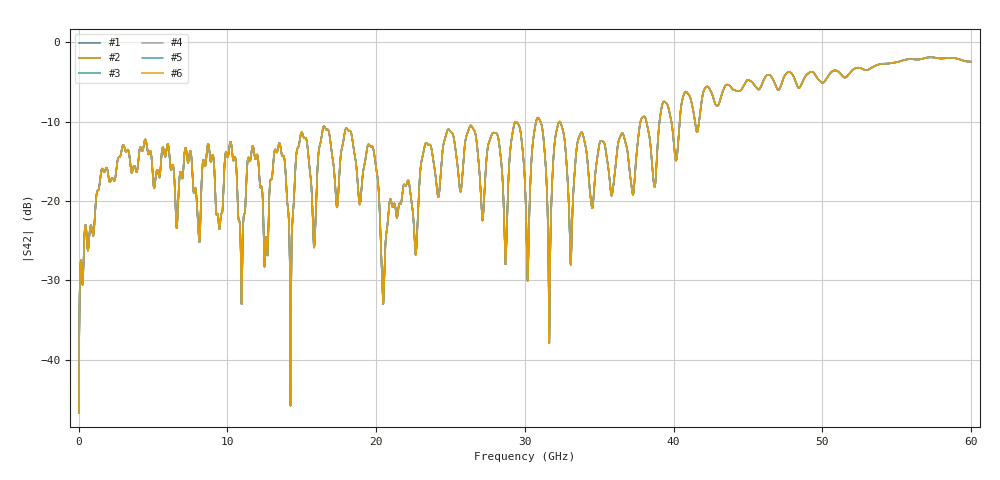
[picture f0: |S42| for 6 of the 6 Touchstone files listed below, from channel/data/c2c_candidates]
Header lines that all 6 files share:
!$Gore$
!C2C PCB Topology at Nominal
!Tuned Ballou BGA and Tuned Mayfield BOR
!Created with Channel Assembly Tool v1.0.4
# Hz S RI R 50
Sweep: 10 MHz to 60 GHz
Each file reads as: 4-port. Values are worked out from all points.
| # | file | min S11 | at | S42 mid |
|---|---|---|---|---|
| 1 | C2C_PCB_SYSVIA_14dB_fext1.s4p | -60.4 dB | 440 MHz | -18.1 dB at 30.01 GHz |
| 2 | C2C_PCB_SYSVIA_14dB_fext2.s4p | -59.2 dB | 440 MHz | -18.1 dB at 30.01 GHz |
| 3 | C2C_PCB_SYSVIA_14dB_fext3.s4p | -61.7 dB | 430 MHz | -18.1 dB at 30.01 GHz |
| 4 | C2C_PCB_SYSVIA_14dB_fext4.s4p | -55.4 dB | 440 MHz | -18.1 dB at 30.01 GHz |
| 5 | C2C_PCB_SYSVIA_14dB_fext5.s4p | -65.9 dB | 430 MHz | -18.1 dB at 30.01 GHz |
| 6 | C2C_PCB_SYSVIA_14dB_fext6.s4p | -59.7 dB | 440 MHz | -18.1 dB at 30.01 GHz |
